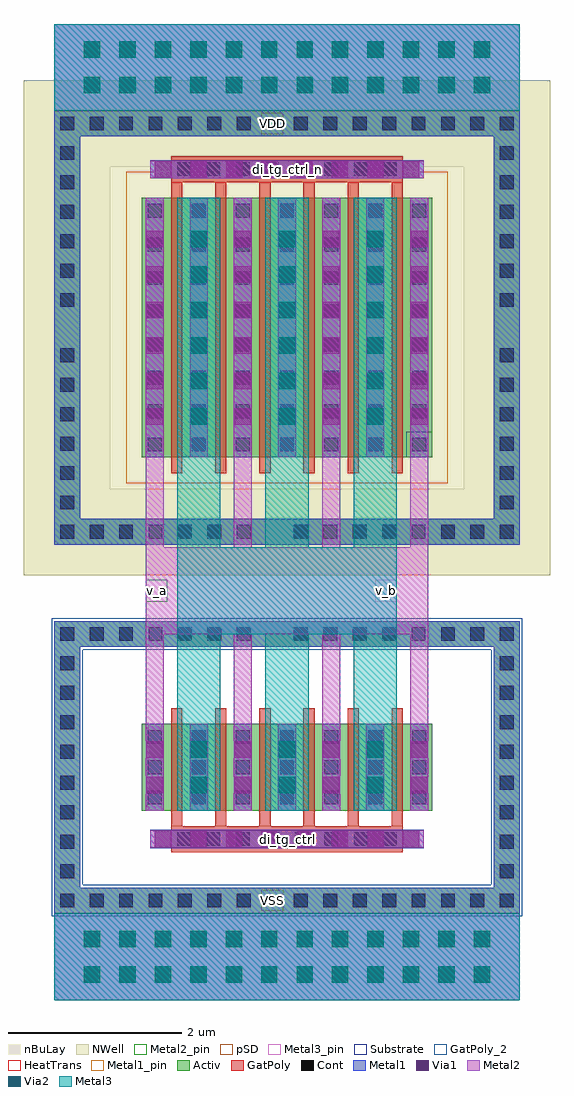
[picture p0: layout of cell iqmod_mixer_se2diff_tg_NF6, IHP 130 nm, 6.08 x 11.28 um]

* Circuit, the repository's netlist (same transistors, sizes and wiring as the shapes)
* Extracted by KLayout with SG13G2 LVS runset on : 28/03/2026 19:02

.SUBCKT iqmod_mixer_se2diff_tg_NF6 VDD VSS v_a di_tg_ctrl di_tg_ctrl_n v_b
M$1 v_a di_tg_ctrl v_b \$7 sg13_lv_nmos L=0.13u W=6u AS=1.29p AD=1.29p PS=9.58u
+ PD=9.58u rfmode=0
R$7 VSS \$7 ptap1 A=4.896p P=32.64u
M$8 v_a di_tg_ctrl_n v_b \$I32 sg13_lv_pmos L=0.13u W=18u AS=3.87p AD=3.87p
+ PS=23.58u PD=23.58u rfmode=0
R$14 VDD \$I32 ntap1 A=5.88p P=39.2u
.ENDS iqmod_mixer_se2diff_tg_NF6

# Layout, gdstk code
import gdstk
lib = gdstk.Library(unit=1e-6, precision=5e-09)
def R(c, l, rs):  # rectangles x0, y0, x1, y1
    for r in rs: c.add(gdstk.rectangle(r[:2], r[2:], *l))
def A(c, l, x, y, w, h, nx, ny, dx, dy):  # array of equal rectangles
    R(c, l, [(x+i*dx, y+j*dy, x+i*dx+w, y+j*dy+h) for i in range(nx) for j in range(ny)])
def P(c, l, *ps):  # polygons
    for p in ps: c.add(gdstk.Polygon(p, *l))
Activ = (1, 0)
GatPoly = (5, 0)
GatPoly_2 = (5, 2)
Cont = (6, 0)
Metal1 = (8, 0)
Metal1_pin = (8, 2)
Metal2 = (10, 0)
Metal2_pin = (10, 2)
pSD = (14, 0)
Via1 = (19, 0)
Via2 = (29, 0)
Metal3 = (30, 0)
Metal3_pin = (30, 2)
NWell = (31, 0)
nBuLay = (32, 0)
Substrate = (40, 0)
HeatTrans = (51, 0)

pmos_1 = lib.new_cell('pmos$1')
A(pmos_1, Activ, 0, 0, 0.3, 0.3, 7, 1, 0.51, 0)
R(pmos_1, Activ, [(-1.01,-0.71,-0.71,3.71), (4.07,-0.71,4.37,3.71), (0,0,3.36,3), (-1.01,3.71,4.37,4.01)])
P(pmos_1, Activ, [(-1.01,-1.01),(-1.01,3.71),(-0.71,3.71),(-0.71,-0.71),(4.07,-0.71),(4.07,3.71),(-1.01,3.71),(-1.01,4.01),(4.37,4.01),(4.37,-1.01)])
A(pmos_1, GatPoly, 0.34, -0.18, 0.13, 3.36, 6, 1, 0.51, 0)
R(pmos_1, GatPoly, [(0.34,-0.18,0.47,3.18)])
A(pmos_1, Cont, -0.94, -0.94, 0.16, 0.16, 7, 2, 0.34, 4.72)
A(pmos_1, Cont, 1.76, -0.94, 0.16, 0.16, 8, 2, 0.34, 4.72)
A(pmos_1, Cont, -0.94, -0.6, 0.16, 0.16, 1, 6, 0, 0.34)
A(pmos_1, Cont, 4.14, -0.6, 0.16, 0.16, 1, 6, 0, 0.34)
A(pmos_1, Cont, 0.07, 0.07, 0.16, 0.16, 7, 7, 0.51, 0.385)
A(pmos_1, Cont, -0.94, 1.74, 0.16, 0.16, 1, 6, 0, 0.34)
A(pmos_1, Cont, 4.14, 1.74, 0.16, 0.16, 1, 6, 0, 0.34)
A(pmos_1, Cont, 0.07, 2.77, 0.16, 0.16, 7, 1, 0.51, 0)
A(pmos_1, Metal1, 0.58, 0, 0.16, 3, 6, 1, 0.51, 0)
R(pmos_1, Metal1, [(-1.01,-1.01,4.37,-0.71), (-1.01,-0.71,-0.71,3.71), (4.07,-0.71,4.37,3.71), (0.07,0,0.23,3), (0.07,0,0.23,3), (0.58,0,0.74,3), (-1.01,3.71,4.37,4.01)])
R(pmos_1, pSD, [(-0.18,-0.3,3.54,3.3)])
R(pmos_1, NWell, [(-1.36,-1.36,4.72,4.36), (-0.31,-0.31,3.67,3.31)])
R(pmos_1, nBuLay, [(-1.36,-0.36,-0.36,3.36), (3.72,-0.36,4.72,3.36), (-1.36,3.36,4.72,4.36)])
P(pmos_1, nBuLay, [(-1.36,-1.36),(-1.36,3.36),(-0.36,3.36),(-0.36,-0.36),(3.72,-0.36),(3.72,3.36),(-1.36,3.36),(-1.36,4.36),(4.72,4.36),(4.72,-1.36)])
R(pmos_1, Substrate, [(3.06,0,3.36,0.3)])
A(pmos_1, HeatTrans, 0.34, -0.18, 0.13, 3.36, 6, 1, 0.51, 0)
pmos_1.add(gdstk.Label('pmos', (0.405,1.5), layer=63, texttype=0))
pmos_1.add(gdstk.Label('well', (1.68,-0.86), layer=63, texttype=0))
pmos_1.add(gdstk.Label('pmos', (0.405,1.5), layer=51, texttype=0))
pmos_1.add(gdstk.Label('pmos', (0.915,1.5), layer=51, texttype=0))
pmos_1.add(gdstk.Label('pmos', (1.425,1.5), layer=51, texttype=0))
pmos_1.add(gdstk.Label('pmos', (1.935,1.5), layer=51, texttype=0))
pmos_1.add(gdstk.Label('pmos', (2.445,1.5), layer=51, texttype=0))
pmos_1.add(gdstk.Label('pmos', (2.955,1.5), layer=51, texttype=0))

nmos_1 = lib.new_cell('nmos$1')
A(nmos_1, Activ, 0, 0, 0.3, 0.3, 7, 1, 0.51, 0)
R(nmos_1, Activ, [(-1.01,-0.89,-0.71,1.89), (4.07,-0.89,4.37,1.89), (0,0,3.36,1), (-1.01,1.89,4.37,2.19)])
P(nmos_1, Activ, [(-1.01,-1.19),(-1.01,1.89),(-0.71,1.89),(-0.71,-0.89),(4.07,-0.89),(4.07,1.89),(-1.01,1.89),(-1.01,2.19),(4.37,2.19),(4.37,-1.19)])
A(nmos_1, GatPoly, 0.34, -0.18, 0.13, 1.36, 6, 1, 0.51, 0)
R(nmos_1, GatPoly_2, [(0.34,-0.18,0.47,1.18)])
A(nmos_1, Cont, -0.94, -1.12, 0.16, 0.16, 7, 2, 0.34, 3.08)
A(nmos_1, Cont, 1.76, -1.12, 0.16, 0.16, 8, 2, 0.34, 3.08)
A(nmos_1, Cont, -0.94, -0.78, 0.16, 0.16, 1, 4, 0, 0.34)
A(nmos_1, Cont, 4.14, -0.78, 0.16, 0.16, 1, 4, 0, 0.34)
A(nmos_1, Cont, 0.07, 0.07, 0.16, 0.16, 7, 3, 0.51, 0.35)
A(nmos_1, Cont, -0.94, 0.6, 0.16, 0.16, 1, 4, 0, 0.34)
A(nmos_1, Cont, 4.14, 0.6, 0.16, 0.16, 1, 4, 0, 0.34)
A(nmos_1, Metal1, 0.07, 0, 0.16, 1, 7, 1, 0.51, 0)
R(nmos_1, Metal1, [(-1.01,-1.19,4.37,-0.89), (-1.01,-0.89,-0.71,1.89), (4.07,-0.89,4.37,1.89), (-1.01,1.89,4.37,2.19)])
R(nmos_1, Metal1_pin, [(0.07,0,0.23,1), (0.58,0,0.74,1)])
R(nmos_1, pSD, [(-1.04,-0.86,-0.68,1.86), (4.04,-0.86,4.4,1.86), (-1.04,1.86,4.4,2.22)])
P(nmos_1, pSD, [(-1.04,-1.22),(-1.04,1.86),(-0.68,1.86),(-0.68,-0.86),(4.04,-0.86),(4.04,1.86),(-1.04,1.86),(-1.04,2.22),(4.4,2.22),(4.4,-1.22)])
R(nmos_1, Substrate, [(-1.04,-0.86,-0.68,1.86), (4.04,-0.86,4.4,1.86), (-1.04,1.86,4.4,2.22)])
P(nmos_1, Substrate, [(-1.04,-1.22),(-1.04,1.86),(-0.68,1.86),(-0.68,-0.86),(4.04,-0.86),(4.04,1.86),(-1.04,1.86),(-1.04,2.22),(4.4,2.22),(4.4,-1.22)])
A(nmos_1, HeatTrans, 0.34, -0.18, 0.13, 1.36, 6, 1, 0.51, 0)
nmos_1.add(gdstk.Label('nmos', (0.405,0.5), layer=63, texttype=0))
nmos_1.add(gdstk.Label('sub!', (1.68,-1.04), layer=63, texttype=0))
nmos_1.add(gdstk.Label('nmos', (0.405,0.5), layer=51, texttype=0))
nmos_1.add(gdstk.Label('nmos', (0.915,0.5), layer=51, texttype=0))
nmos_1.add(gdstk.Label('nmos', (1.425,0.5), layer=51, texttype=0))
nmos_1.add(gdstk.Label('nmos', (1.935,0.5), layer=51, texttype=0))
nmos_1.add(gdstk.Label('nmos', (2.445,0.5), layer=51, texttype=0))
nmos_1.add(gdstk.Label('nmos', (2.955,0.5), layer=51, texttype=0))

via_stack_1 = lib.new_cell('via_stack$1')
R(via_stack_1, Metal1, [(-0.105,-1.17,0.105,1.17)])
R(via_stack_1, Metal2, [(-0.1,-1.17,0.1,1.17)])
A(via_stack_1, Via1, -0.095, -1.12, 0.19, 0.19, 1, 6, 0, 0.41)
A(via_stack_1, Via2, -0.095, -1.12, 0.19, 0.19, 1, 6, 0, 0.41)
R(via_stack_1, Metal3, [(-0.1,-1.17,0.1,1.17)])

via_stack_2 = lib.new_cell('via_stack$2')
R(via_stack_2, Metal1, [(-0.105,-1.17,0.105,1.17)])
R(via_stack_2, Metal2, [(-0.1,-1.17,0.1,1.17)])
A(via_stack_2, Via1, -0.095, -1.12, 0.19, 0.19, 1, 6, 0, 0.41)

via_stack_4 = lib.new_cell('via_stack$4')
R(via_stack_4, Metal1, [(-0.105,-0.35,0.105,0.35)])
R(via_stack_4, Metal2, [(-0.1,-0.35,0.1,0.35)])
R(via_stack_4, Via1, [(-0.095,-0.3,0.095,-0.11), (-0.095,0.11,0.095,0.3)])

via_stack = lib.new_cell('via_stack')
R(via_stack, GatPoly, [(-1.34,-0.15,1.34,0.15)])
A(via_stack, Cont, -1.27, -0.08, 0.16, 0.16, 8, 1, 0.34, 0)
R(via_stack, Metal1, [(-1.58,-0.105,1.58,0.105)])
R(via_stack, Metal2, [(-1.58,-0.1,1.58,0.1)])
A(via_stack, Via1, -1.53, -0.095, 0.19, 0.19, 8, 1, 0.41, 0)

via_stack_3 = lib.new_cell('via_stack$3')
R(via_stack_3, Metal1, [(-0.105,-0.35,0.105,0.35)])
R(via_stack_3, Metal2, [(-0.1,-0.35,0.1,0.35)])
R(via_stack_3, Via1, [(-0.095,-0.3,0.095,-0.11), (-0.095,0.11,0.095,0.3)])
R(via_stack_3, Via2, [(-0.095,-0.3,0.095,-0.11), (-0.095,0.11,0.095,0.3)])
R(via_stack_3, Metal3, [(-0.1,-0.35,0.1,0.35)])

via_stack_7 = lib.new_cell('via_stack$7')
R(via_stack_7, Metal1, [(-2.4,-0.31,2.4,0.31)])
R(via_stack_7, Metal2, [(-2.4,-0.305,2.4,0.305)])
A(via_stack_7, Via1, -2.35, -0.3, 0.19, 0.19, 12, 2, 0.41, 0.41)
A(via_stack_7, Via2, -2.35, -0.3, 0.19, 0.19, 12, 2, 0.41, 0.41)
R(via_stack_7, Metal3, [(-2.4,-0.305,2.4,0.305)])

iqmod_mixer_se2diff_tg_n = lib.new_cell('iqmod_mixer_se2diff_tg_NF6')
A(iqmod_mixer_se2diff_tg_n, Metal1, 2.425, 2.19, 0.21, 1, 3, 1, 0.51, 0)
A(iqmod_mixer_se2diff_tg_n, Metal1, 3.445, 2.19, 0.21, 1, 3, 1, 0.51, 0)
A(iqmod_mixer_se2diff_tg_n, Metal1, 1.405, 6.27, 0.21, 3, 7, 1, 0.51, 0)
R(iqmod_mixer_se2diff_tg_n, Metal1, [(0.35,0,5.73,1), (2.62,1,3.12,1.3), (1.405,2.19,1.615,3.19), (1.405,2.19,1.615,3.19), (1.915,2.19,2.125,3.19), (1.915,2.19,2.125,3.19), (2.425,2.19,2.635,3.19), (4.465,2.19,4.675,3.19), (2.62,9.98,3.12,10.28), (0.35,10.28,5.73,11.28)])
R(iqmod_mixer_se2diff_tg_n, Metal1_pin, [(2.745,1.025,2.995,1.275), (2.745,10.005,2.995,10.255)])
A(iqmod_mixer_se2diff_tg_n, Metal2, 1.405, 2.19, 0.21, 1, 7, 1, 0.51, 0)
A(iqmod_mixer_se2diff_tg_n, Metal2, 1.405, 3.19, 0.21, 3.08, 4, 1, 1.02, 0)
A(iqmod_mixer_se2diff_tg_n, Metal2, 1.405, 6.27, 0.21, 3, 7, 1, 0.51, 0)
R(iqmod_mixer_se2diff_tg_n, Metal2, [(0.35,0,5.73,1), (2.93,1.76,3.15,1.96), (1.405,4.23,3.655,5.23), (1.405,4.23,4.675,5.23), (2.93,9.5,3.15,9.7), (0.35,10.28,5.73,11.28)])
R(iqmod_mixer_se2diff_tg_n, Metal2_pin, [(2.965,1.785,3.115,1.935), (1.405,4.605,1.655,4.855), (2.965,9.525,3.115,9.675)])
A(iqmod_mixer_se2diff_tg_n, Metal3, 1.77, 2.19, 0.5, 7.08, 3, 1, 1.02, 0)
A(iqmod_mixer_se2diff_tg_n, Metal3, 1.915, 2.19, 0.21, 1, 3, 1, 1.02, 0)
A(iqmod_mixer_se2diff_tg_n, Metal3, 1.915, 6.27, 0.21, 3, 3, 1, 1.02, 0)
R(iqmod_mixer_se2diff_tg_n, Metal3, [(0.35,0,5.73,1), (1.77,4.23,4.31,5.23), (0.35,10.28,5.73,11.28)])
R(iqmod_mixer_se2diff_tg_n, Metal3_pin, [(4.06,4.605,4.31,4.855)])
iqmod_mixer_se2diff_tg_n.add(gdstk.Reference(pmos_1, (1.36,6.27)))
iqmod_mixer_se2diff_tg_n.add(gdstk.Reference(nmos_1, (1.36,2.19)))
iqmod_mixer_se2diff_tg_n.add(gdstk.Reference(via_stack_1, (3.04,7.77)))
iqmod_mixer_se2diff_tg_n.add(gdstk.Reference(via_stack_1, (2.02,7.77)))
iqmod_mixer_se2diff_tg_n.add(gdstk.Reference(via_stack_2, (2.53,7.77)))
iqmod_mixer_se2diff_tg_n.add(gdstk.Reference(via_stack_2, (4.57,7.77)))
iqmod_mixer_se2diff_tg_n.add(gdstk.Reference(via_stack_2, (1.51,7.77)))
iqmod_mixer_se2diff_tg_n.add(gdstk.Reference(via_stack_4, (1.51,2.69)))
iqmod_mixer_se2diff_tg_n.add(gdstk.Reference(via_stack_1, (4.06,7.77)))
iqmod_mixer_se2diff_tg_n.add(gdstk.Reference(via_stack, (3.04,1.86)))
iqmod_mixer_se2diff_tg_n.add(gdstk.Reference(via_stack_2, (3.55,7.77)))
iqmod_mixer_se2diff_tg_n.add(gdstk.Reference(via_stack_3, (2.02,2.69)))
iqmod_mixer_se2diff_tg_n.add(gdstk.Reference(via_stack_3, (3.04,2.69)))
iqmod_mixer_se2diff_tg_n.add(gdstk.Reference(via_stack_3, (4.06,2.69)))
iqmod_mixer_se2diff_tg_n.add(gdstk.Reference(via_stack_4, (2.53,2.69)))
iqmod_mixer_se2diff_tg_n.add(gdstk.Reference(via_stack_4, (3.55,2.69)))
iqmod_mixer_se2diff_tg_n.add(gdstk.Reference(via_stack_4, (4.57,2.69)))
iqmod_mixer_se2diff_tg_n.add(gdstk.Reference(via_stack_7, (3.04,10.78)))
iqmod_mixer_se2diff_tg_n.add(gdstk.Reference(via_stack_7, (3.04,0.5)))
iqmod_mixer_se2diff_tg_n.add(gdstk.Reference(via_stack, (3.04,9.6)))
iqmod_mixer_se2diff_tg_n.add(gdstk.Label('v_a', (1.53,4.73), layer=10, texttype=25))
iqmod_mixer_se2diff_tg_n.add(gdstk.Label('di_tg_ctrl', (3.04,1.86), layer=10, texttype=25))
iqmod_mixer_se2diff_tg_n.add(gdstk.Label('di_tg_ctrl_n', (3.04,9.6), layer=10, texttype=25))
iqmod_mixer_se2diff_tg_n.add(gdstk.Label('VDD', (2.87,10.13), layer=8, texttype=25))
iqmod_mixer_se2diff_tg_n.add(gdstk.Label('VSS', (2.87,1.15), layer=8, texttype=25))
iqmod_mixer_se2diff_tg_n.add(gdstk.Label('v_b', (4.185,4.73), layer=30, texttype=25))

lib.write_gds('iqmod_mixer_se2diff_tg_NF6.gds')
